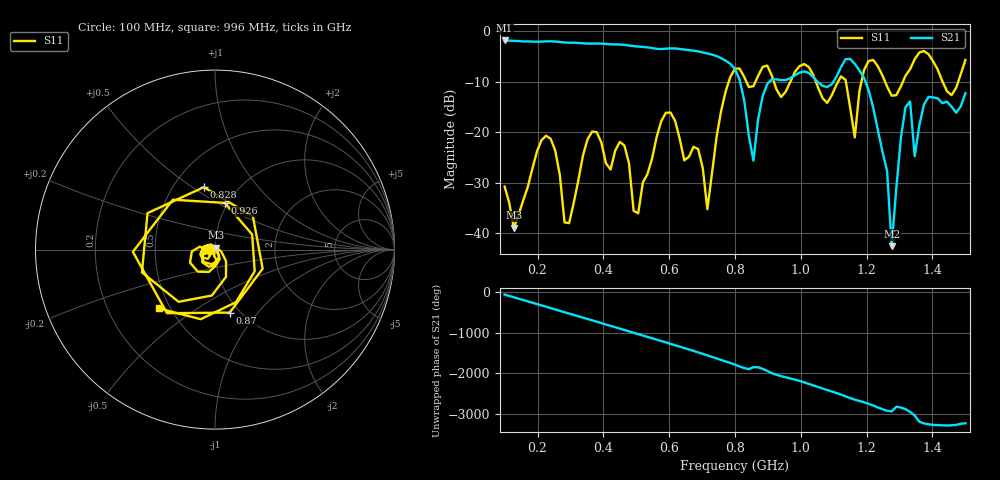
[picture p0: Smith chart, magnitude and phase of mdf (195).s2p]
! NanoVNA-App
! Date: 2025-09-25 15:39:56
! Start: 100MHz Stop: 1,5GHz Points: 101
! S-Parameter data: F S11 S21 S12 S22
# Hz S RI R 50
!  Frequency  S11_Real  S11_Imag  S21_Real  S21_Imag  S12_Real  S12_Imag  S22_Real  S22_Imag
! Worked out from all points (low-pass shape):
!   101 points, 100 MHz to 1.5 GHz, reference 50 ohm
!   highest |S21| = -1.80 dB at 100 MHz (marker M1); lowest = -42.6 dB at 1.276 GHz (marker M2)
!   |S21| within 3 dB of the highest: start of sweep to 739.3 MHz
!   lowest |S11| = -38.9 dB at 128 MHz (marker M3), VSWR 1.02, Z = 50.3 + j1.08 ohm
!   |S11| at or under -10 dB: start of sweep to 781.1 MHz; 918.3 MHz to 968.1 MHz (49.86 MHz wide, 5.29 % of centre); 1.046 GHz to 1.113 GHz (67.39 MHz wide, 6.24 % of centre) (the widest 3 of 7)
!   S12 and S22 are empty: the file has one direction only
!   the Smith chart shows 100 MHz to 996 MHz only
!   S11 on the Smith chart (normalised r, x): 100 MHz: 0.94, -0.01; 828 MHz: 0.70, +0.56; 870 MHz: 0.90, -0.73; 926 MHz: 0.97, +0.54; 996 MHz: 0.44, -0.36
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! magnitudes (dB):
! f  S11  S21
! 100 MHz  -30.8  -1.8
! 128 MHz  -38.9  -1.9
! 212 MHz  -21.6  -2.0
! 282 MHz  -37.9  -2.2
! 338 MHz  -24.6  -2.4
! 464 MHz  -22.6  -2.7
! 506 MHz  -36.1  -3.0
! 576 MHz  -17.8  -3.5
! 716 MHz  -35.3  -4.4
! 800 MHz  -7.4  -7.5
! 828 MHz  -9.0  -13.7
! 870 MHz  -8.9  -17.5
! 926 MHz  -11.5  -9.5
! 996 MHz  -6.9  -8.2
! 1.038 GHz  -8.7  -9.1
! 1.164 GHz  -21.0  -6.5
! 1.192 GHz  -7.7  -9.2
! 1.262 GHz  -10.9  -27.7
! 1.276 GHz  -12.8  -42.6
! 1.318 GHz  -8.8  -15.0
! 1.346 GHz  -5.5  -24.8
! 1.5 GHz  -5.7  -12.3
